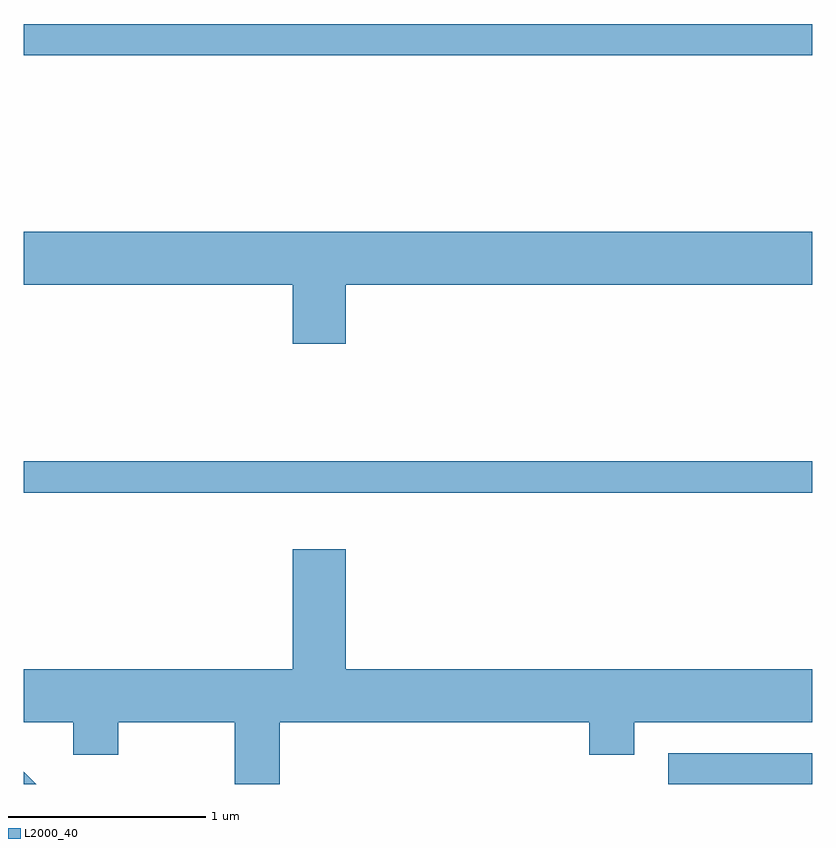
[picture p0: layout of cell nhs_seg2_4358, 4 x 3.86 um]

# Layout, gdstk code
import gdstk
lib = gdstk.Library(unit=1e-6, precision=1e-09)
def R(c, l, rs):  # rectangles x0, y0, x1, y1
    for r in rs: c.add(gdstk.rectangle(r[:2], r[2:], *l))
def P(c, l, *ps):  # polygons
    for p in ps: c.add(gdstk.Polygon(p, *l))
L2000_40 = (2000, 40)

nhs_seg2_4358 = lib.new_cell('nhs_seg2_4358')
R(nhs_seg2_4358, L2000_40, [(316.881,1025.802,317.611,1025.959), (313.611,1027.281,317.611,1027.439), (313.611,1029.501,317.611,1029.659)])
P(nhs_seg2_4358, L2000_40, [(315.244,1028.336),(317.611,1028.336),(317.611,1028.604),(313.611,1028.604),(313.611,1028.336),(314.976,1028.336),(314.976,1028.036),(315.244,1028.036)],
  [(314.909,1026.116),(316.481,1026.116),(316.481,1025.951),(316.709,1025.951),(316.709,1026.116),(317.611,1026.116),(317.611,1026.384),(315.244,1026.384),(315.244,1026.994),(314.976,1026.994),(314.976,1026.384),(313.611,1026.384),(313.611,1026.116),(313.861,1026.116),(313.861,1025.951),(314.089,1025.951),(314.089,1026.116),(314.681,1026.116),(314.681,1025.802),(314.909,1025.802)],
  [(313.611,1025.865),(313.611,1025.802),(313.674,1025.802)])

lib.write_gds('nhs_seg2_4358.gds')
